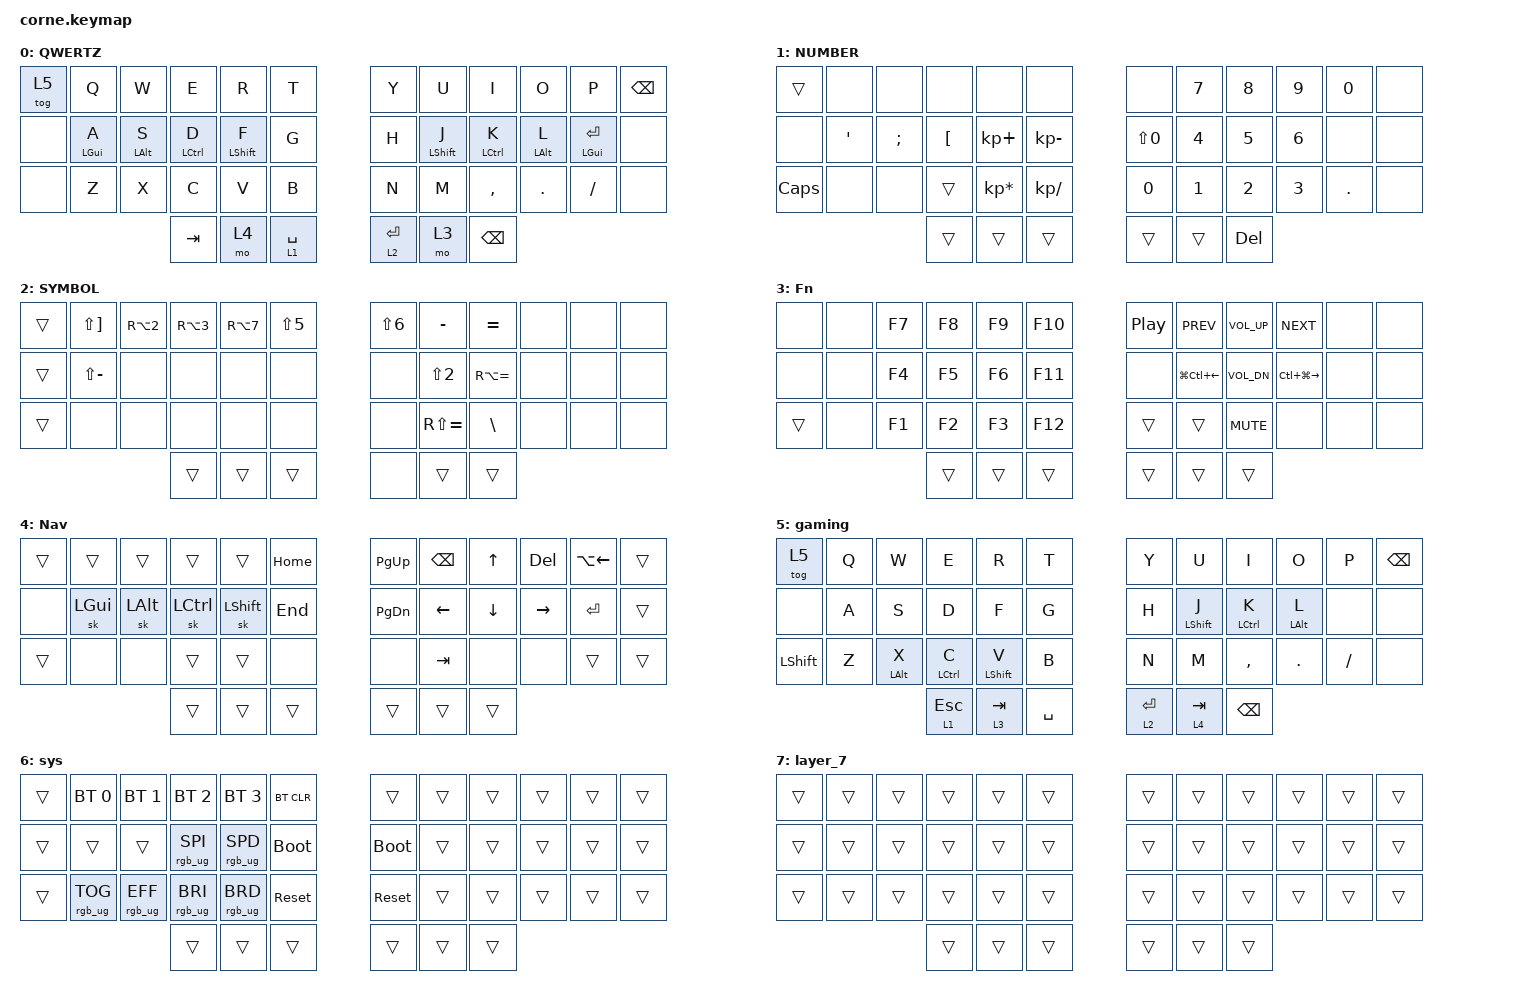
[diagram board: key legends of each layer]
/*
 * Copyright (c) 2020 The ZMK Contributors
 *
 * SPDX-License-Identifier: MIT
 */

#include <behaviors.dtsi>
#include <dt-bindings/zmk/bt.h>
#include <dt-bindings/zmk/keys.h>
#include <dt-bindings/zmk/rgb.h>

/ {
    chosen {
        zmk,matrix_transform = &default_transform;

        // zmk,matrix_transform = &five_column_transform;
    };
};

/ {
    behaviors {
    };

    hml: hml {
        compatible = "zmk,behavior-hold-tap";
        label = "HML";
        bindings = <&kp>, <&kp>;

        #binding-cells = <2>;
        tapping-term-ms = <280>;
        quick-tap-ms = <175>;
        require-prior-idle-ms = <150>;
        flavor = "balanced";
        hold-trigger-on-release;
    };

    leftbrackets_mm: leftbrackets_mm {
        compatible = "zmk,behavior-mod-morph";
        label = "LEFTBRACKETS_MM";
        bindings = <&kp RA(LEFT_BRACKET)>, <&kp RA(APOS)>;

        #binding-cells = <0>;
        mods = <(MOD_LSFT|MOD_RSFT)>;
    };

    rightbrackets_mm: rightbrackets_mm {
        compatible = "zmk,behavior-mod-morph";
        label = "RIGHTBRACKETS_MM";
        bindings = <&kp RA(RIGHT_BRACKET)>, <&kp RA(BACKSLASH)>;

        #binding-cells = <0>;
        mods = <(MOD_LSFT|MOD_RSFT)>;
    };

    leftpar: leftpar {
        compatible = "zmk,behavior-mod-morph";
        label = "LEFTPAR";
        bindings = <&kp LS(NUMBER_8)>, <&kp NON_US_BACKSLASH>;

        #binding-cells = <0>;
        mods = <(MOD_LSFT|MOD_RSFT)>;
    };

    rightpar: rightpar {
        compatible = "zmk,behavior-mod-morph";
        label = "RIGHTPAR";
        bindings = <&kp LS(NUMBER_9)>, <&kp LS(NON_US_BACKSLASH)>;

        #binding-cells = <0>;
        mods = <(MOD_LSFT|MOD_RSFT)>;
    };

    combos {
        compatible = "zmk,combos";

        esc {
            bindings = <&kp ESCAPE>;
            key-positions = <2 3>;
        };

        copy {
            bindings = <&kp LC(C)>;
            key-positions = <26 27>;
        };

        paste {
            bindings = <&kp LC(V)>;
            key-positions = <27 28>;
        };

        cut {
            bindings = <&kp LC(X)>;
            key-positions = <26 28>;
        };

        backspace {
            bindings = <&kp BACKSPACE>;
            key-positions = <7 8>;
        };

        del {
            bindings = <&kp DEL>;
            key-positions = <8 9>;
        };

        lpar {
            bindings = <&leftpar>;
            key-positions = <19 20>;
        };

        rpar {
            bindings = <&rightpar>;
            key-positions = <20 21>;
        };

        lbracket {
            bindings = <&leftbrackets_mm>;
            key-positions = <31 32>;
        };

        rbracket {
            bindings = <&rightbrackets_mm>;
            key-positions = <32 33>;
        };

        plus {
            bindings = <&kp KP_PLUS>;
            key-positions = <7 19>;
        };

        minus {
            bindings = <&kp KP_MINUS>;
            key-positions = <19 31>;
        };

        multiply {
            bindings = <&kp KP_MULTIPLY>;
            key-positions = <8 20>;
        };

        divide {
            bindings = <&kp KP_DIVIDE>;
            key-positions = <20 32>;
        };

        sysLayer {
            bindings = <&mo 6>;
            key-positions = <44 45 39 38>;
        };

        fslash {
            bindings = <&kp RA(NON_US_BSLH)>;
            key-positions = <9 21>;
        };

        pipe {
            bindings = <&kp RA(NUMBER_7)>;
            key-positions = <21 33>;
        };
    };

    keymap {
        compatible = "zmk,keymap";

        default_layer {
            display-name = "QWERTZ";
            bindings = <
&tog 5  &kp Q            &kp W            &kp E                &kp R              &kp T          &kp Y        &kp U              &kp I                &kp O            &kp P                &kp BSPC
&none   &hml LEFT_GUI A  &hml LEFT_ALT S  &hml LEFT_CONTROL D  &hml LEFT_SHIFT F  &kp G          &kp H        &hml LEFT_SHIFT J  &hml LEFT_CONTROL K  &hml LEFT_ALT L  &hml LEFT_GUI ENTER  &none
&none   &kp Z            &kp X            &kp C                &kp V              &kp B          &kp N        &kp M              &kp COMMA            &kp DOT          &kp SLASH            &none
                                          &kp TAB              &mo 4              &lt 1 SPACE    &lt 2 ENTER  &mo 3              &kp BACKSPACE
            >;
        };

        lower_layer {
            display-name = "NUMBER";
            bindings = <
&trans    &none             &none     &none     &none            &none              &none             &kp N7        &kp N8        &kp N9        &kp N0      &none
&none     &kp SINGLE_QUOTE  &kp SEMI  &kp LBKT  &kp KP_PLUS      &kp KP_SUBTRACT    &kp LS(NUMBER_0)  &kp NUMBER_4  &kp NUMBER_5  &kp NUMBER_6  &none       &none
&kp CAPS  &none             &none     &trans    &kp KP_MULTIPLY  &kp KP_SLASH       &kp NUMBER_0      &kp NUMBER_1  &kp NUMBER_2  &kp NUMBER_3  &kp PERIOD  &none
                                      &trans    &trans           &trans             &trans            &trans        &kp DELETE
            >;
        };

        raise_layer {
            display-name = "SYMBOL";
            bindings = <
&trans  &kp LS(RIGHT_BRACKET)  &kp RA(NUMBER_2)  &kp RA(NUMBER_3)  &kp RA(N7)  &kp LS(N5)    &kp LS(NUMBER_6)  &kp MINUS         &kp EQUAL      &none  &none  &none
&trans  &kp LS(MINUS)          &none             &none             &none       &none         &none             &kp LS(NUMBER_2)  &kp RA(EQUAL)  &none  &none  &none
&trans  &none                  &none             &none             &none       &none         &none             &kp RS(EQUAL)     &kp BACKSLASH  &none  &none  &none
                                                 &trans            &trans      &trans        &none             &trans            &trans
            >;
        };

        layer_3 {
            display-name = "Fn";
            bindings = <
&none   &none  &kp F7  &kp F8  &kp F9  &kp F10    &kp C_PLAY_PAUSE  &kp C_PREV              &kp C_VOL_UP  &kp C_NEXT         &none  &none
&none   &none  &kp F4  &kp F5  &kp F6  &kp F11    &none             &kp LG(LC(LEFT_ARROW))  &kp C_VOL_DN  &kp LC(LG(RIGHT))  &none  &none
&trans  &none  &kp F1  &kp F2  &kp F3  &kp F12    &trans            &trans                  &kp C_MUTE    &none              &none  &none
                       &trans  &trans  &trans     &trans            &trans                  &trans
            >;
        };

        Nav {
            display-name = "Nav";
            bindings = <
&trans  &trans        &trans        &trans            &trans          &kp HOME    &kp PG_UP      &kp BACKSPACE   &kp UP_ARROW    &kp DELETE  &kp LA(LEFT)  &trans
&none   &sk LEFT_GUI  &sk LEFT_ALT  &sk LEFT_CONTROL  &sk LEFT_SHIFT  &kp END     &kp PAGE_DOWN  &kp LEFT_ARROW  &kp DOWN_ARROW  &kp RIGHT   &kp ENTER     &trans
&trans  &none         &none         &trans            &trans          &none       &none          &kp TAB         &none           &none       &trans        &trans
                                    &trans            &trans          &trans      &trans         &trans          &trans
            >;
        };

        gaming {
            display-name = "gaming";
            bindings = <
&tog 5          &kp Q  &kp W        &kp E                &kp R              &kp T        &kp Y        &kp U              &kp I                &kp O            &kp P      &kp BSPC
&none           &kp A  &kp S        &kp D                &kp F              &kp G        &kp H        &hml LEFT_SHIFT J  &hml LEFT_CONTROL K  &hml LEFT_ALT L  &none      &none
&kp LEFT_SHIFT  &kp Z  &hml LALT X  &hml LEFT_CONTROL C  &hml LEFT_SHIFT V  &kp B        &kp N        &kp M              &kp COMMA            &kp DOT          &kp SLASH  &none
                                    &lt 1 ESCAPE         &lt 3 TAB          &kp SPACE    &lt 2 ENTER  &lt 4 TAB          &kp BACKSPACE
            >;
        };

        sys {
            bindings = <
&trans  &bt BT_SEL 0     &bt BT_SEL 1     &bt BT_SEL 2     &bt BT_SEL 3     &bt BT_CLR     &trans       &trans  &trans  &trans  &trans  &trans
&trans  &trans           &trans           &rgb_ug RGB_SPI  &rgb_ug RGB_SPD  &bootloader    &bootloader  &trans  &trans  &trans  &trans  &trans
&trans  &rgb_ug RGB_TOG  &rgb_ug RGB_EFF  &rgb_ug RGB_BRI  &rgb_ug RGB_BRD  &sys_reset     &sys_reset   &trans  &trans  &trans  &trans  &trans
                                          &trans           &trans           &trans         &trans       &trans  &trans
            >;
        };

        layer_7 {
            bindings = <
&trans  &trans  &trans  &trans  &trans  &trans    &trans  &trans  &trans  &trans  &trans  &trans
&trans  &trans  &trans  &trans  &trans  &trans    &trans  &trans  &trans  &trans  &trans  &trans
&trans  &trans  &trans  &trans  &trans  &trans    &trans  &trans  &trans  &trans  &trans  &trans
                        &trans  &trans  &trans    &trans  &trans  &trans
            >;
        };
    };
};
